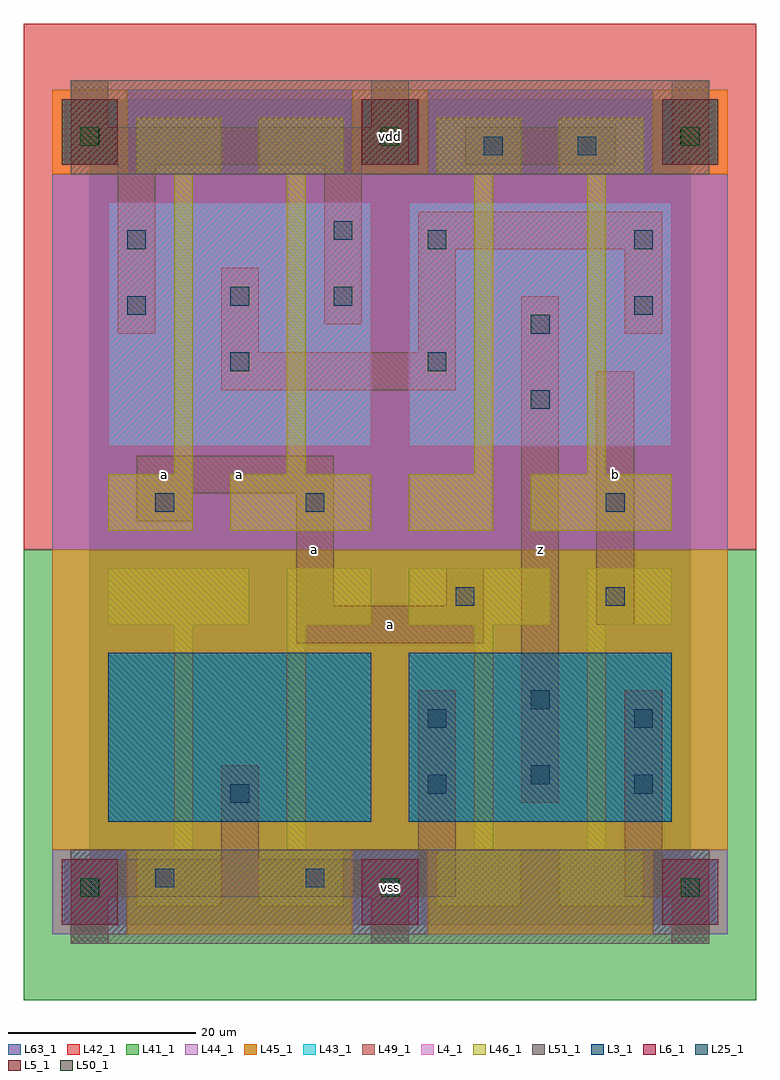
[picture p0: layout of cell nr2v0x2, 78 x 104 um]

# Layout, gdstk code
import gdstk
lib = gdstk.Library(unit=1e-6, precision=1e-09)
def R(c, l, rs):  # rectangles x0, y0, x1, y1
    for r in rs: c.add(gdstk.rectangle(r[:2], r[2:], *l))
def A(c, l, x, y, w, h, nx, ny, dx, dy):  # array of equal rectangles
    R(c, l, [(x+i*dx, y+j*dy, x+i*dx+w, y+j*dy+h) for i in range(nx) for j in range(ny)])
L3_1 = (3, 1)
L4_1 = (4, 1)
L5_1 = (5, 1)
L6_1 = (6, 1)
L25_1 = (25, 1)
L41_1 = (41, 1)
L42_1 = (42, 1)
L43_1 = (43, 1)
L44_1 = (44, 1)
L45_1 = (45, 1)
L46_1 = (46, 1)
L49_1 = (49, 1)
L50_1 = (50, 1)
L51_1 = (51, 1)
L63_1 = (63, 1)

nr2v0x2 = lib.new_cell('nr2v0x2')
R(nr2v0x2, L3_1, [(2,11,30,29), (34,11,62,29)])
R(nr2v0x2, L4_1, [(2,51,30,77), (34,51,62,77)])
A(nr2v0x2, L5_1, -3, 81, 6, 7, 3, 1, 32, 0)
R(nr2v0x2, L6_1, [(-3,0,3,7), (-3,0,3,7), (29,0,35,7), (29,0,35,7), (61,0,67,7), (61,0,67,7)])
A(nr2v0x2, L25_1, -1, 3, 2, 2, 3, 2, 32, 80)
R(nr2v0x2, L25_1, [(7,4,9,6), (23,4,25,6), (15,13,17,15), (36,14,38,16), (58,14,60,16), (47,15,49,17), (36,21,38,23), (58,21,60,23), (47,23,49,25), (39,34,41,36), (55,34,57,36), (7,44,9,46), (23,44,25,46), (55,44,57,46), (47,55,49,57), (15,59,17,61), (36,59,38,61), (47,63,49,65), (4,65,6,67), (58,65,60,67), (15,66,17,68), (26,66,28,68), (4,72,6,74), (36,72,38,74), (58,72,60,74), (26,73,28,75), (42,82,44,84), (52,82,54,84)])
R(nr2v0x2, L41_1, [(-7,-8,71,40)])
R(nr2v0x2, L42_1, [(-7,40,71,96)])
A(nr2v0x2, L43_1, -3, 0, 6, 7, 3, 2, 32, 81)
R(nr2v0x2, L43_1, [(2,11,30,29), (34,11,62,29), (2,51,30,77), (34,51,62,77)])
A(nr2v0x2, L44_1, -4, -1, 8, 9, 3, 1, 32, 0)
R(nr2v0x2, L44_1, [(-4,40,68,80), (4,80,28,89), (36,80,60,89)])
A(nr2v0x2, L45_1, -4, 80, 8, 9, 3, 1, 32, 0)
R(nr2v0x2, L45_1, [(4,-1,28,8), (36,-1,60,8), (-4,8,68,40)])
R(nr2v0x2, L46_1, [(5,2,14,8), (18,2,27,8), (37,2,46,8), (50,2,59,8), (9,8,11,32), (21,8,23,32), (41,8,43,32), (53,8,55,32), (2,32,17,38), (21,32,30,38), (34,32,49,38), (53,32,62,38), (2,42,11,48), (15,42,30,48), (34,42,43,48), (47,42,62,48), (9,48,11,80), (21,48,23,80), (41,48,43,80), (53,48,55,80), (5,80,14,86), (18,80,27,86), (37,80,46,86), (50,80,59,86)])
A(nr2v0x2, L49_1, -2, -2, 4, 5, 3, 1, 32, 0)
R(nr2v0x2, L49_1, [(-2,3,39,7), (57,3,66,7), (14,7,18,17), (35,7,39,25), (57,7,61,25), (46,13,50,67), (22,30,42,34), (54,32,58,59), (22,34,26,46), (38,34,42,38), (5,43,11,46), (5,46,26,50), (14,57,39,61), (14,61,18,70), (35,61,39,72), (3,63,7,81), (57,63,61,72), (25,64,29,81), (35,72,61,76), (-2,81,34,85), (40,81,56,85), (62,81,66,90), (-2,85,2,90), (30,85,34,90)])
A(nr2v0x2, L50_1, -1, 3, 2, 2, 3, 2, 32, 80)
R(nr2v0x2, L51_1, [(-2,-2,66,8), (-2,80,66,90)])
R(nr2v0x2, L63_1, [(0,0,64,88)])
nr2v0x2.add(gdstk.Label('a', (8,48), layer=49, texttype=1))
nr2v0x2.add(gdstk.Label('a', (16,48), layer=49, texttype=1))
nr2v0x2.add(gdstk.Label('a', (32,32), layer=49, texttype=1))
nr2v0x2.add(gdstk.Label('a', (24,40), layer=49, texttype=1))
nr2v0x2.add(gdstk.Label('z', (48,40), layer=49, texttype=1))
nr2v0x2.add(gdstk.Label('b', (56,48), layer=49, texttype=1))
nr2v0x2.add(gdstk.Label('vss', (32,4), layer=51, texttype=1))
nr2v0x2.add(gdstk.Label('vdd', (32,84), layer=51, texttype=1))

lib.write_gds('nr2v0x2.gds')
